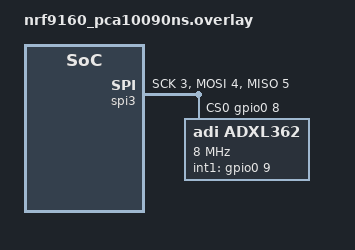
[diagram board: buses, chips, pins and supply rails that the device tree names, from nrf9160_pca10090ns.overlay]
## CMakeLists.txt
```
#
# Copyright (c) 2018 Nordic Semiconductor
#
# SPDX-License-Identifier: LicenseRef-BSD-5-Clause-Nordic
#

cmake_minimum_required(VERSION 3.8.2)

include(../../../cmake/boilerplate.cmake NO_POLICY_SCOPE)

include($ENV{ZEPHYR_BASE}/cmake/app/boilerplate.cmake NO_POLICY_SCOPE)
project(cat_tracker)

# NORDIC SDK APP START
target_sources(app PRIVATE src/main.c)
# NORDIC SDK APP END

# Include source directory
zephyr_include_directories(src)

# Application directories
add_subdirectory(src/modem_data)
add_subdirectory(src/mqtt_behaviour)
add_subdirectory(src/gps_controller)
add_subdirectory(src/mqtt_codec)
add_subdirectory(src/leds)
```

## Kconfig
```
#
# Copyright (c) 2018 Nordic Semiconductor ASA
#
# SPDX-License-Identifier: LicenseRef-BSD-5-Clause-Nordic
#

menu "Cat Tracker sample"

config ENABLE_LED_THREAD
	bool "Enable LED thread"
	default y

menu "GPS"

choice
	prompt "GPS device"
	default GPS_USE_SIM
	help
		Select from which device GPS data will be fetched.

config GPS_USE_SIM
	bool "Use GPS simulator"
	select GPS_SIM
	select GPS_SIM_TRIGGER
	help
		Use simulated GPS data.


config GPS_USE_EXTERNAL
	bool "User provided GPS device"
	help
		Provide a GPS device that location data will be fetched from and
		sent to nRF Cloud

rsource "src/gps_controller/Kconfig"

endchoice

config GPS_DEV_NAME
	string "GPS device name"
	default GPS_SIM_DEV_NAME if GPS_USE_SIM
	help
		GPS device from which location data will be fetched and sent
		to nRF Cloud.

config GPS_TRIGGER
	bool
	default GPS_SIM_TRIGGER if GPS_USE_SIM
	

endmenu	# GPS

config CLOUD_CERT_SEC_TAG
	int "Secure tag fo TLS credentials"
	default 1

config MQTT_PUB_TOPIC
	string "MQTT publish topic"
	default "my/publish/topic"

config MQTT_SUB_TOPIC
	string "MQTT subscribe topic"
	default "my/subscribe/topic"

config CLOUD_HOST_NAME
	string "Cloud broker hostname"
	default "a34x44yyrk96tg-ats.iot.eu-central-1.amazonaws.com"

config CLOUD_PORT
	int "Cloud AWS broker port"
	default 8883

config MQTT_MESSAGE_BUFFER_SIZE
	int ""
	default 2048

config MQTT_PAYLOAD_BUFFER_SIZE
	int ""
	default 2048

endmenu

menu "Zephyr Kernel"
source "$ZEPHYR_BASE/Kconfig.zephyr"
endmenu
```

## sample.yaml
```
sample:
  name: Cat Track Sample
tests:
  test_build:
    build_only: true
    build_on_all: true
    platform_whitelist: nrf9160_pca10090ns
    tags: ci_build
```

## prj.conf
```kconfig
# General config
CONFIG_TEST_RANDOM_GENERATOR=y
CONFIG_ASSERT=n
CONFIG_REBOOT=y
CONFIG_NEWLIB_LIBC=y

# BSD library
CONFIG_DK_LIBRARY=y
CONFIG_DK_LIBRARY_INVERT_LEDS=n

# Disable native network stack to save some memory
CONFIG_NET_IPV4=n
CONFIG_NET_IPV6=n
CONFIG_NET_UDP=n
CONFIG_NET_TCP=n
CONFIG_NET_RX_STACK_SIZE=256
CONFIG_NET_TX_STACK_SIZE=256

# MQTT
CONFIG_MQTT_LIB=y
CONFIG_MQTT_LIB_TLS=y

# PROVISIONING
CONFIG_CLOUD_CERT_SEC_TAG=16842753

# JSON LIB
CONFIG_CJSON_LIB=y

# GPS, STACK
CONFIG_BSD_LIBRARY=y
CONFIG_NETWORKING=y
CONFIG_NET_SOCKETS_OFFLOAD=y
CONFIG_NET_SOCKETS=y
CONFIG_MAIN_STACK_SIZE=8192
CONFIG_HEAP_MEM_POOL_SIZE=16348
CONFIG_SYSTEM_WORKQUEUE_STACK_SIZE=8192
CONFIG_NET_SOCKETS_POSIX_NAMES=y
CONFIG_HW_STACK_PROTECTION=y

# LTE link control
CONFIG_LTE_LINK_CONTROL=y
CONFIG_LTE_AUTO_INIT_AND_CONNECT=n
CONFIG_LTE_NETWORK_MODE_NBIOT=y
CONFIG_LTE_LEGACY_PCO_MODE=y
CONFIG_LTE_PSM_REQ_RPTAU="00000011"
CONFIG_LTE_PSM_REQ_RAT="00000000"

# LOG
CONFIG_LOG=y
CONFIG_LOG_DEFAULT_LEVEL=2
CONFIG_LOG_BACKEND_UART=y
CONFIG_LOG_STRDUP_BUF_COUNT=10

# AT Host
CONFIG_UART_INTERRUPT_DRIVEN=y
CONFIG_AT_HOST_LIBRARY=y

# ADXL362
CONFIG_ADXL362=y
CONFIG_HAS_DTS_I2C=y
CONFIG_SPI=y
CONFIG_SENSOR=y
CONFIG_ADXL362_TRIGGER_GLOBAL_THREAD=y
CONFIG_ADXL362_INTERRUPT_MODE=1
CONFIG_ADXL362_ABS_REF_MODE=1
CONFIG_ADXL362_ACTIVITY_THRESHOLD=400
CONFIG_ADXL362_INACTIVITY_THRESHOLD=300

# GPS
CONFIG_ENABLE_NRF9160_GPS=n
CONFIG_NRF9160_GPS_LOG_LEVEL_DBG=y
CONFIG_GPS_CONTROL=y
CONFIG_GPS_USE_EXTERNAL=y
CONFIG_GPS_DEV_NAME="NRF9160_GPS"
CONFIG_GPS_CONTROL_FIRST_FIX_CHECK_DELAY=10
CONFIG_GPS_CONTROL_FIX_CHECK_INTERVAL=30
CONFIG_GPS_CONTROL_FIX_TRY_TIME=180
CONFIG_GPS_CONTROL_FIX_COUNT=3
```

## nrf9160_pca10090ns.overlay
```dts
&spi3 {
	status = "ok";
	sck-pin = <3>;
	mosi-pin = <4>;
	miso-pin = <5>;
	cs-gpios = <&gpio0 8 0>, <&gpio0 7 0>;

	adxl362@0 {
		compatible = "adi,adxl362";
		label = "ADXL362";
		spi-max-frequency = <8000000>;
		reg = <0>;
		int1-gpios = <&gpio0 9 0>;
	};
};
```

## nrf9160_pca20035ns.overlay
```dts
&spi3 {
	status = "ok";
	sck-pin = <25>;
	mosi-pin = <24>;
	miso-pin = <23>;
	cs-gpios = <&gpio0 22 0>, <&gpio0 7 0>;

	adxl362@0 {
		compatible = "adi,adxl362";
		label = "ADXL362";
		spi-max-frequency = <8000000>;
		reg = <0>;
		int1-gpios = <&gpio0 21 0>;
	};
};
```

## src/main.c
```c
/*
 * Copyright (c) 2018 Nordic Semiconductor ASA
 *
 * SPDX-License-Identifier: LicenseRef-BSD-5-Clause-Nordic
 */

#include <zephyr.h>
#include <stdio.h>
#include <uart.h>
#include <string.h>
#include <logging/log.h>
#include <misc/reboot.h>
#include <mqtt_behaviour.h>
#include <modem_data.h>
#include <device.h>
#include <sensor.h>
#include <gps_controller.h>
#include <mqtt_codec.h>
#include <leds.h>

#define NORMAL_OPERATION false
#define SYNCRONIZATION true
#define NO_GPS_FIX false
#define GPS_FIX true
#define MODEM_DATA_SEND true
#define INCLUDE_CFG true
#define NOT_INCLUDE_CFG false

static bool active;

K_SEM_DEFINE(gps_timeout_sem, 0, 1);
K_SEM_DEFINE(accel_trig_sem, 0, 1);

struct k_poll_event events[2] = {
	K_POLL_EVENT_STATIC_INITIALIZER(K_POLL_TYPE_SEM_AVAILABLE,
					K_POLL_MODE_NOTIFY_ONLY,
					&gps_timeout_sem, 0),
	K_POLL_EVENT_STATIC_INITIALIZER(K_POLL_TYPE_SEM_AVAILABLE,
					K_POLL_MODE_NOTIFY_ONLY,
					&accel_trig_sem, 0)
};

static void publish_cloud()
{
	int err;
	err = publish_data(NORMAL_OPERATION);
	if (err != 0) {
		printk("Error publishing data: %d", err);
	}
}

static void cloud_sync()
{
	int err;
	err = publish_data(SYNCRONIZATION);
	if (err != 0) {
		printk("Error syncronizing with brokerr: %d", err);
	}
}

static void gps_found_work_fn(struct k_work *work)
{
	set_gps_found(true);
}

static void gps_not_found_work_fn(struct k_work *work)
{
	set_gps_found(false);
}

static void gps_start_work_fn(struct k_work *work)
{
	gps_control_start();
}

static void gps_stop_work_fn(struct k_work *work)
{
	gps_control_stop();
}

static void get_modem_info_work_fn(struct k_work *work)
{
	attach_battery_data(request_battery_status());
}

static void gps_control_handler(struct device *dev, struct gps_trigger *trigger)
{
	static struct gps_data gps_data;

	switch (trigger->type) {
	case GPS_TRIG_FIX:
		printk("gps control handler triggered!\n");
		gps_control_on_trigger();
		gps_sample_fetch(dev);
		gps_channel_get(dev, GPS_CHAN_PVT, &gps_data);
		attach_gps_data(gps_data);
		k_sem_give(events[0].sem);
		break;

	default:
		break;
	}
}

static void lte_connect(void)
{
	int err;

	if (IS_ENABLED(CONFIG_LTE_AUTO_INIT_AND_CONNECT)) {
		/* Do nothing, modem is already turned on
			* and connected.
			*/
	} else {
		int err;

		printk("LTE Link Connecting ...\n");
		lte_connecting_led_start();
		err = lte_lc_init_and_connect();
		__ASSERT(err == 0, "LTE link could not be established.");
		printk("LTE Link Connected!\n");
		lte_connecting_led_stop();
	}
	lte_lc_psm_req(true);

	k_sleep(5000);

	err = modem_time_get();
	if (err != 0) {
		printk("Error fetching modem time\n");
	}
}

static void cloud_publish(bool gps_fix, bool action, bool inc_config)
{
	int err;

	attach_battery_data(request_battery_status(), get_current_time());

	set_gps_found(gps_fix);

	err = publish_data(action, inc_config);
	if (err != 0) {
		printk("Error publishing data: %d", err);
	}
}

static void adxl362_trigger_handler(struct device *dev,
				    struct sensor_trigger *trig)
{
	static struct sensor_value accel[3];

	switch (trig->type) {
	case SENSOR_TRIG_THRESHOLD:

		if (sensor_sample_fetch(dev) < 0) {
			printk("Sample fetch error\n");
			return;
		}

		sensor_channel_get(dev, SENSOR_CHAN_ACCEL_X, &accel[0]);
		sensor_channel_get(dev, SENSOR_CHAN_ACCEL_Y, &accel[1]);
		sensor_channel_get(dev, SENSOR_CHAN_ACCEL_Z, &accel[2]);

		if ((abs(sensor_value_to_double(&accel[0])) >
		     check_accel_thres()) ||
		    (abs(sensor_value_to_double(&accel[1])) >
		     check_accel_thres()) ||
		    (abs(sensor_value_to_double(&accel[2])) >
		     check_accel_thres())) {
			attach_accel_data(sensor_value_to_double(&accel[0]),
					  sensor_value_to_double(&accel[1]),
					  sensor_value_to_double(&accel[2]),
					  get_current_time());

			printf("x: %.1f, y: %.1f, z: %.1f (m/s^2)\n",
			       sensor_value_to_double(&accel[0]),
			       sensor_value_to_double(&accel[1]),
			       sensor_value_to_double(&accel[2]));
			k_sem_give(events[1].sem);
		}

		break;
	default:
		printk("Unknown trigger\n");
	}
}

static void gps_control_handler(struct device *dev, struct gps_trigger *trigger)
{
	static struct gps_data gps_data;

	switch (trigger->type) {
	case GPS_TRIG_FIX:
		printk("gps control handler triggered!\n");
		gps_control_on_trigger();
		gps_sample_fetch(dev);
		gps_channel_get(dev, GPS_CHAN_PVT, &gps_data);
		set_current_time(gps_data);
		attach_gps_data(gps_data, get_current_time());
		k_sem_give(events[0].sem);
		break;

	default:
		break;
	}
}

static void button_handler(u32_t button_states, u32_t has_changed)
{
	u8_t btn_num;

	while (has_changed) {
		btn_num = 0;

		for (u8_t i = 0; i < 32; i++) {
			if (has_changed & BIT(i)) {
				btn_num = i + 1;
				break;
			}
		}

		has_changed &= ~(1UL << (btn_num - 1));

		if (has_changed == 0 || has_changed == 1) {
			gps_control_stop(K_NO_WAIT);
			set_gps_found(false);
			k_sem_give(events[0].sem);
		}
	}
}

static void adxl362_init(void)
{
	struct device *dev = device_get_binding(DT_INST_0_ADI_ADXL362_LABEL);
	if (dev == NULL) {
		printk("Device get binding device\n");
		return;
	}

	if (IS_ENABLED(CONFIG_ADXL362_TRIGGER)) {
		struct sensor_trigger trig = { .chan = SENSOR_CHAN_ACCEL_XYZ };

		trig.type = SENSOR_TRIG_THRESHOLD;
		if (sensor_trigger_set(dev, &trig, adxl362_trigger_handler)) {
			printk("Trigger set error\n");
			return;
		}
	}
}

void movement_timeout_handler(struct k_work *work)
{
	cloud_publish(NO_GPS_FIX, NORMAL_OPERATION, INCLUDE_CFG);
}

K_WORK_DEFINE(my_work, movement_timeout_handler);

void movement_timer_handler(struct k_timer *dummy)
{
	k_work_submit(&my_work);
}

K_TIMER_DEFINE(mov_timer, movement_timer_handler, NULL);

static void start_restart_mov_timer(void)
{
	k_timer_start(&mov_timer, K_SECONDS(check_gps_timeout()),
		      K_SECONDS(check_mov_timeout()));
}

void main(void)
{
	printk("The cat tracker has started\n");
	adxl362_init();

	err = dk_buttons_init(button_handler);
	if (err != 0) {
		printk("dk buttons not initialized correctly: %d\n", err);
	}

	cloud_configuration_init();
	lte_connect();
	gps_control_init(gps_control_handler);

	cloud_publish(NO_GPS_FIX, SYNCRONIZATION, INCLUDE_CFG);

check_mode:
	if (check_mode()) {
		active = true;
		goto active;
	} else {
		active = false;
		goto passive;
	}

active:
	printk("ACTIVE MODE\n");
	goto gps_search;

passive:
	printk("PASSIVE MODE\n");
	k_poll(events, 2, K_FOREVER);
	if (events[1].state == K_POLL_STATE_SEM_AVAILABLE) {
		k_sem_take(events[1].sem, 0);
	}

	goto gps_search;

gps_search:
	gps_control_start();
	k_poll(events, 1, K_SECONDS(check_gps_timeout()));
	if (events[0].state == K_POLL_STATE_SEM_AVAILABLE) {
		k_sem_take(events[0].sem, 0);
		cloud_publish(GPS_FIX, NORMAL_OPERATION, NOT_INCLUDE_CFG);
	} else {
		gps_control_stop();
		cloud_publish(NO_GPS_FIX, NORMAL_OPERATION, NOT_INCLUDE_CFG);
	}
	events[1].state = K_POLL_STATE_NOT_READY;
	events[0].state = K_POLL_STATE_NOT_READY;
	start_restart_mov_timer();
	k_sleep(K_SECONDS(check_active_wait(active)));

#if defined(CONFIG_ENABLE_NRF9160_GPS)
	gps_control_init(gps_control_handler);
#endif

	cloud_publish(NO_GPS_FIX, SYNCRONIZATION);

check_mode:
	if (check_mode()) {
		active = true;
		goto active;
	} else {
		active = false;
		goto passive;
	}

active:
	printk("ACTIVE MODE\n");
	goto gps_search;

passive:
	printk("PASSIVE MODE\n");
#if defined(CONFIG_ADXL362)
	k_poll(events, 2, K_FOREVER);
	if (events[1].state == K_POLL_STATE_SEM_AVAILABLE) {
		k_sem_take(events[1].sem, 0);
	}
#endif
	goto gps_search;

gps_search:
#if defined(CONFIG_ENABLE_NRF9160_GPS)
	gps_control_start();
	k_poll(events, 1, K_SECONDS(check_gps_timeout()));
	if (events[0].state == K_POLL_STATE_SEM_AVAILABLE) {
		k_sem_take(events[0].sem, 0);
		set_gps_found(true);
		publish_cloud();
	} else {
		gps_control_stop(K_NO_WAIT);
		set_gps_found(false);
		publish_cloud();
	}
	events[1].state = K_POLL_STATE_NOT_READY;
	events[0].state = K_POLL_STATE_NOT_READY;
	k_sleep(K_SECONDS(check_active_wait(active)));
#else
	set_gps_found(false);
	publish_cloud();
	k_sleep(K_SECONDS(check_active_wait(active)));
#endif

	goto check_mode;
}
```

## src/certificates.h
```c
/*
 * Copyright (c) 2018 Nordic Semiconductor ASA
 *
 * SPDX-License-Identifier: LicenseRef-BSD-5-Clause-Nordic
 */

#define CLIENT_PRIVATE_KEY                                          	\
"-----BEGIN RSA PRIVATE KEY-----\n"							 			\
"MIIEowIBAAKCAQEAxCAIAt6AN+1fpJhDuAzL6JxEidXXXZyDs6OALmj8Bo1Gmngm\n"	\
"UCl7KVEpOaVn/TmrVd7tKao4Mhl6VPKujrFTVmMhbOfNb2FFHhgH2ilKwzLb9InW\n"	\
"Yt5aHz1mDA6o5r11dHZOp7CVJCr6GzkYDEs1+mjT4XQFzurD21lbhtz5KTOEkEmU\n"	\
"++qONo3ndTe/LYUQ+QYXhP6u58Z1szYfb1boeLM4HFGMWQeYi8rylLOxzKmX6NSg\n"	\
"mccxBIs5oakhjEMrCYYRh8KuQwAPqnPrAGHkNQWy80UMKkXwbVOYQATRJ9hyUPrl\n"	\
"YzGaSvMbAPvSvM9tGrxTKnIsQIqx0V/gL5K7YwIDAQABAoIBAGBGRQh7hr9tg9S9\n"	\
"dgikJ3ihNTfgRB9M1I3bRfICUS06Lp1nO4+APVgz4iPNIXX52DSIAS3BxGI7hYSr\n"	\
"uKqNO5adhOv8AimZux8htsEOIggeMEEjZJ0V/3F0Z2Kl052pBT5NUSEaGqwteKbi\n"	\
"aP6n8PBigxgaJzvCnLBRdg+G67ygFH/MZPT4bHLNoGNc55YC234Ggh7CcKdjItpX\n"	\
"PxRmjvqcTCVDXbamfDF3yJOGjNalllJh/QtUot93WPkwCa2ukA5PlBAFIRpLLZ9T\n"	\
"76yF1s8E0y1JoBDH/HlXFfNU17aiVA23ScQdxEdDuuKerLi4E3+Xi6TnzrCO5q9F\n"	\
"KiZnbikCgYEA45unMJVyVCSUAHxZYXkNEeZd/SyBvxKBTfmfpuKfAq9STPyCsRi7\n"	\
"JYFVEYCIPpzUxYXha9DPQMlj/JzhITtCOye2ym+TP1tGnSUqht/uhSF60g26da9L\n"	\
"ffqySB1GUy8zRA8XOghU9t69KjQgVRhSNProE800EjdmeJEgdljm6fcCgYEA3JcD\n"	\
"9fSedYzxRlm9mPkRDfA5gjyBTV3cpdC6MlXxJANEXGsY/Q3tHLHUjIk9N1I4XLYq\n"	\
"ttLWnGHfYwTywgDvAMLJUIkFUj828gTvo4Mqw8V5f3DGYKMJLKBTUcmdMpgg8Bfc\n"	\
"+SjwvF5/+c4ob9dUwPSu7NFWrXgMUUPoyv6tPvUCgYBbLQYrayJyXHjBPQ7dAg3f\n"	\
"RsYN3h9XeEU+BCoVQyDphWvVlS2RXdPSMV3vdeqeElsViQ0FEI+FZ2dbUUjJ9CAS\n"	\
"7FTIASweLCU8XCAOCXRV9lRqAr/X1tHJ9HwocTmzpuvFbroiMCZBAncKifkNvYFo\n"	\
"4b3H+OLMDU9KKvCzF+fgfwKBgFF5fb8EgNqOGjePwdWUeNYbGkKeMmvu9SZRd9RL\n"	\
"petVQZSZAfvFfwSQMh9OOUwLlEG6DwDD0vyjsayTEU7SpXQ0fcK/OTXtn0+4vwI3\n"	\
"2j3A3GVTtBHRZfwTo3Kb8vHS+qdzSOzGUFRi2wXbPVhBwk4akdlqYIdlxbbmTD9d\n"	\
"3YNZAoGBAKFU8ld3mTfYPXzvoQh6OwAdKW6MNUhTN4bdHWRL99DL7LuXx9HtnsEl\n"	\
"YGqeWVISXJrwaRvaiAUr5gciQR4asYPpsJvK8YV7DptVgKiTDwTRpD/x7hCTa55H\n"	\
"Yj5V4dbp/EmKvVebYYU5ED/gtT7P8IkhtYgS4aiHCnWbQYLufX4V\n"				\
"-----END RSA KEY-----"

#define CLIENT_PUBLIC_CERTIFICATE                                       \
	"-----BEGIN CERTIFICATE-----\n"                                     \
"MIIDWTCCAkGgAwIBAgIUIKxnN5XtDwKTmMNwZ+auTBqNYJ8wDQYJKoZIhvcNAQEL\n"	\
"BQAwTTFLMEkGA1UECwxCQW1hem9uIFdlYiBTZXJ2aWNlcyBPPUFtYXpvbi5jb20g\n"	\
"SW5jLiBMPVNlYXR0bGUgU1Q9V2FzaGluZ3RvbiBDPVVTMB4XDTE5MDcxMDEyNTE0\n"	\
"MVoXDTQ5MTIzMTIzNTk1OVowHjEcMBoGA1UEAwwTQVdTIElvVCBDZXJ0aWZpY2F0\n"	\
"ZTCCASIwDQYJKoZIhvcNAQEBBQADggEPADCCAQoCggEBAMQgCALegDftX6SYQ7gM\n"	\
"y+icRInV112cg7OjgC5o/AaNRpp4JlApeylRKTmlZ/05q1Xe7SmqODIZelTyro6x\n"	\
"U1ZjIWznzW9hRR4YB9opSsMy2/SJ1mLeWh89ZgwOqOa9dXR2TqewlSQq+hs5GAxL\n"	\
"Nfpo0+F0Bc7qw9tZW4bc+SkzhJBJlPvqjjaN53U3vy2FEPkGF4T+rufGdbM2H29W\n"	\
"6HizOBxRjFkHmIvK8pSzscypl+jUoJnHMQSLOaGpIYxDKwmGEYfCrkMAD6pz6wBh\n"	\
"5DUFsvNFDCpF8G1TmEAE0SfYclD65WMxmkrzGwD70rzPbRq8UypyLECKsdFf4C+S\n"	\
"u2MCAwEAAaNgMF4wHwYDVR0jBBgwFoAUalIZ7oAC5qtWKfv6EdbX9jVTOKowHQYD\n"	\
"VR0OBBYEFL26TCzOsnI1k7t3EPoxfDr+EYzzMAwGA1UdEwEB/wQCMAAwDgYDVR0P\n"	\
"AQH/BAQDAgeAMA0GCSqGSIb3DQEBCwUAA4IBAQBExhJmtGyx6DsXxU6jLcASmpAK\n"	\
"3cBEB7oveo1lVHHpD6F3ggKLXwc8H0RLT2GMDW4RTVn+k691nab+/9WXa80/ggh7\n"	\
"UhQZWSVS0Ju9AyRkPugqdZqIgN8pUoy6TSnCP+cSgI/SHkFSORM6//EXaNCgXRH5\n"	\
"yPRwORRlxu1QCBJCmZcGAXswC5ldz2qF/ADOWRqnK8aEMe+5Kxzyhauxxiw0AA1j\n"	\
"9lWwfIq5pjLqUgEhGpajDvgfpQSNpqhLm8CndPpa17O7d9Xjb2zgnRLYrGGnf8cY\n"	\
"Q2+TuiCNK/rF/EnDpQQb8mP9mLip+3uK8CyNnlv6v3tFBT6BVUfaC189RQxP\n"		\
	"-----END CERTIFICATE-----\n"

#define CA_CERTIFICATE                                                  \
	"-----BEGIN CERTIFICATE-----\n"                                     \
"MIIDQTCCAimgAwIBAgITBmyfz5m/jAo54vB4ikPmljZbyjANBgkqhkiG9w0BAQsF\n"	\
"ADA5MQswCQYDVQQGEwJVUzEPMA0GA1UEChMGQW1hem9uMRkwFwYDVQQDExBBbWF6\n"	\
"b24gUm9vdCBDQSAxMB4XDTE1MDUyNjAwMDAwMFoXDTM4MDExNzAwMDAwMFowOTEL\n"	\
"MAkGA1UEBhMCVVMxDzANBgNVBAoTBkFtYXpvbjEZMBcGA1UEAxMQQW1hem9uIFJv\n"	\
"b3QgQ0EgMTCCASIwDQYJKoZIhvcNAQEBBQADggEPADCCAQoCggEBALJ4gHHKeNXj\n"	\
"ca9HgFB0fW7Y14h29Jlo91ghYPl0hAEvrAIthtOgQ3pOsqTQNroBvo3bSMgHFzZM\n"	\
"9O6II8c+6zf1tRn4SWiw3te5djgdYZ6k/oI2peVKVuRF4fn9tBb6dNqcmzU5L/qw\n"	\
"IFAGbHrQgLKm+a/sRxmPUDgH3KKHOVj4utWp+UhnMJbulHheb4mjUcAwhmahRWa6\n"	\
"VOujw5H5SNz/0egwLX0tdHA114gk957EWW67c4cX8jJGKLhD+rcdqsq08p8kDi1L\n"	\
"93FcXmn/6pUCyziKrlA4b9v7LWIbxcceVOF34GfID5yHI9Y/QCB/IIDEgEw+OyQm\n"	\
"jgSubJrIqg0CAwEAAaNCMEAwDwYDVR0TAQH/BAUwAwEB/zAOBgNVHQ8BAf8EBAMC\n"	\
"AYYwHQYDVR0OBBYEFIQYzIU07LwMlJQuCFmcx7IQTgoIMA0GCSqGSIb3DQEBCwUA\n"	\
"A4IBAQCY8jdaQZChGsV2USggNiMOruYou6r4lK5IpDB/G/wkjUu0yKGX9rbxenDI\n"	\
"U5PMCCjjmCXPI6T53iHTfIUJrU6adTrCC2qJeHZERxhlbI1Bjjt/msv0tadQ1wUs\n"	\
"N+gDS63pYaACbvXy8MWy7Vu33PqUXHeeE6V/Uq2V8viTO96LXFvKWlJbYK8U90vv\n"	\
"o/ufQJVtMVT8QtPHRh8jrdkPSHCa2XV4cdFyQzR1bldZwgJcJmApzyMZFo6IQ6XU\n"	\
"5MsI+yMRQ+hDKXJioaldXgjUkK642M4UwtBV8ob2xJNDd2ZhwLnoQdeXeGADbkpy\n"	\
"rqXRfboQnoZsG4q5WTP468SQvvG5\n"								   		\
	"-----END CERTIFICATE-----\n"
```
